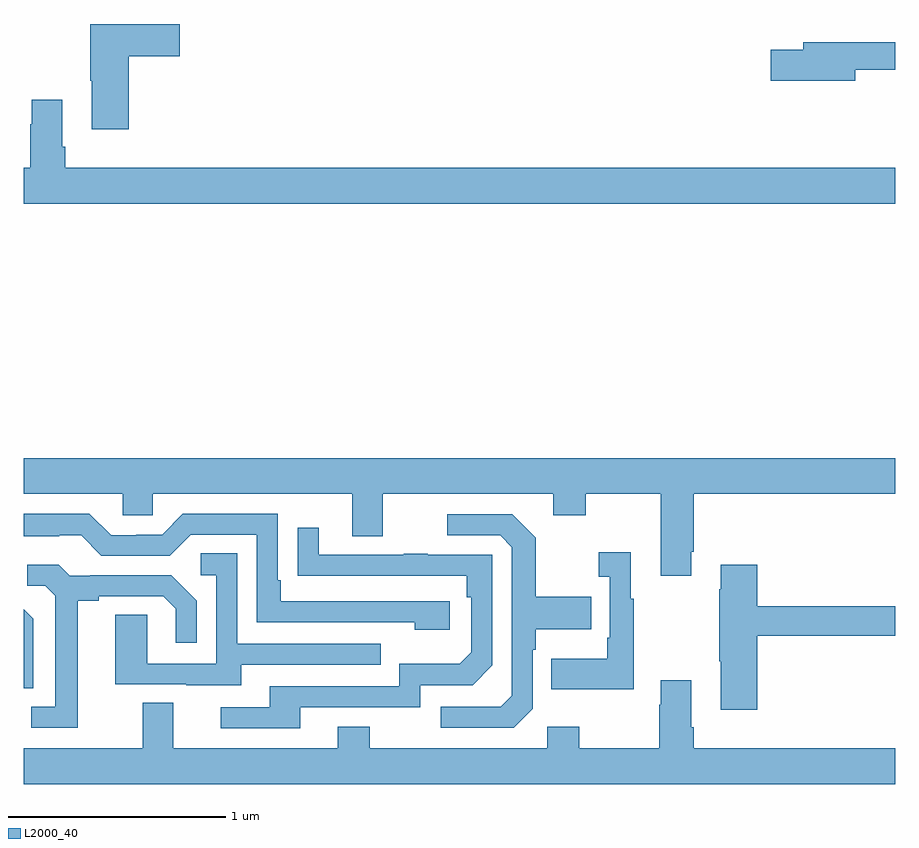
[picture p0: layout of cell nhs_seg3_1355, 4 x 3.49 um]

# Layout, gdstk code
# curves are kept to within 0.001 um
import gdstk
lib = gdstk.Library(unit=1e-6, precision=1e-09)
def P(c, l, *ps):  # polygons
    for p in ps: c.add(gdstk.Polygon(p, *l))
L2000_40 = (2000, 40)

nhs_seg3_1355 = lib.new_cell('nhs_seg3_1355')
P(nhs_seg3_1355, L2000_40, [(181.481,708.251),(181.717,708.251),(181.717,708.398),(181.481,708.398),(181.481,708.4),(181.306,708.4),(181.306,708.139),(181.313,708.139),(181.313,707.916),(181.481,707.916)],
  [(184.816,708.189),(185,708.189),(185,708.317),(184.577,708.317),(184.577,708.281),(184.428,708.281),(184.428,708.139),(184.816,708.139)],
  [(185,707.74),(181.19,707.74),(181.19,707.836),(181.177,707.836),(181.177,708.052),(181.037,708.052),(181.037,707.939),(181.03,707.939),(181.03,707.74),(181,707.74),(181,707.576),(185,707.576)],
  [(181,706.244),(181.455,706.244),(181.455,706.146),(181.593,706.146),(181.593,706.244),(182.507,706.244),(182.507,706.05),(182.647,706.05),(182.647,706.244),(183.431,706.244),(183.431,706.145),(183.579,706.145),(183.579,706.244),(183.923,706.244),(183.923,705.867),(184.063,705.867),(184.063,705.979),(184.076,705.979),(184.076,706.244),(185,706.244),(185,706.408),(181,706.408)],
  [(182.956,705.75),(182.179,705.75),(182.179,705.847),(182.166,705.847),(182.166,706.152),(181.731,706.152),(181.635,706.056),(181.517,706.056),(181.517,706.053),(181.401,706.053),(181.301,706.153),(181,706.153),(181,706.049),(181.163,706.049),(181.163,706.053),(181.263,706.053),(181.356,705.96),(181.671,705.96),(181.767,706.056),(182.07,706.056),(182.07,705.654),(182.795,705.654),(182.795,705.62),(182.956,705.62)],
  [(183.336,705.258),(183.336,705.527),(183.349,705.527),(183.349,705.623),(183.605,705.623),(183.605,705.771),(183.349,705.771),(183.349,706.043),(183.243,706.149),(182.943,706.149),(182.943,706.053),(183.186,706.053),(183.24,705.999),(183.24,705.318),(183.189,705.267),(182.913,705.267),(182.913,705.171),(183.249,705.171)],
  [(182.269,705.264),(182.82,705.264),(182.82,705.366),(183.06,705.366),(183.15,705.456),(183.15,705.963),(182.855,705.963),(182.855,705.968),(182.743,705.968),(182.743,705.963),(182.353,705.963),(182.353,706.087),(182.257,706.087),(182.257,705.868),(183.034,705.867),(183.034,705.77),(183.054,705.77),(183.054,705.516),(183.001,705.463),(182.724,705.463),(182.724,705.36),(182.129,705.36),(182.129,705.264),(181.905,705.264),(181.905,705.168),(182.269,705.168)],
  [(183.799,705.763),(183.787,705.763),(183.787,705.976),(183.639,705.976),(183.639,705.863),(183.69,705.863),(183.69,705.583),(183.678,705.583),(183.678,705.487),(183.421,705.487),(183.421,705.347),(183.799,705.347)],
  [(181.999,705.459),(182.639,705.459),(182.639,705.555),(181.98,705.555),(181.98,705.971),(181.812,705.971),(181.812,705.87),(181.884,705.87),(181.884,705.465),(181.566,705.465),(181.566,705.689),(181.421,705.689),(181.421,705.369),(181.745,705.369),(181.745,705.365),(181.999,705.365)],
  [(184.367,705.592),(185,705.592),(185,705.728),(184.367,705.728),(184.367,705.919),(184.199,705.919),(184.199,705.806),(184.192,705.806),(184.192,705.475),(184.199,705.475),(184.199,705.252),(184.367,705.252)],
  [(181.249,705.752),(181.345,705.752),(181.345,705.774),(181.64,705.774),(181.697,705.717),(181.697,705.561),(181.794,705.561),(181.794,705.754),(181.678,705.87),(181.306,705.87),(181.306,705.867),(181.212,705.867),(181.16,705.919),(181.017,705.919),(181.017,705.822),(181.098,705.822),(181.145,705.775),(181.145,705.267),(181.035,705.267),(181.035,705.171),(181.249,705.171)],
  [(181.044,705.67),(181,705.714),(181,705.352),(181.044,705.352)],
  [(185,705.076),(184.076,705.076),(184.076,705.172),(184.063,705.172),(184.063,705.388),(183.923,705.388),(183.923,705.275),(183.916,705.275),(183.916,705.076),(183.549,705.076),(183.549,705.175),(183.402,705.175),(183.402,705.076),(182.589,705.076),(182.589,705.175),(182.441,705.175),(182.441,705.076),(181.687,705.076),(181.687,705.284),(181.547,705.284),(181.547,705.076),(181,705.076),(181,704.912),(185,704.912)])

lib.write_gds('nhs_seg3_1355.gds')
